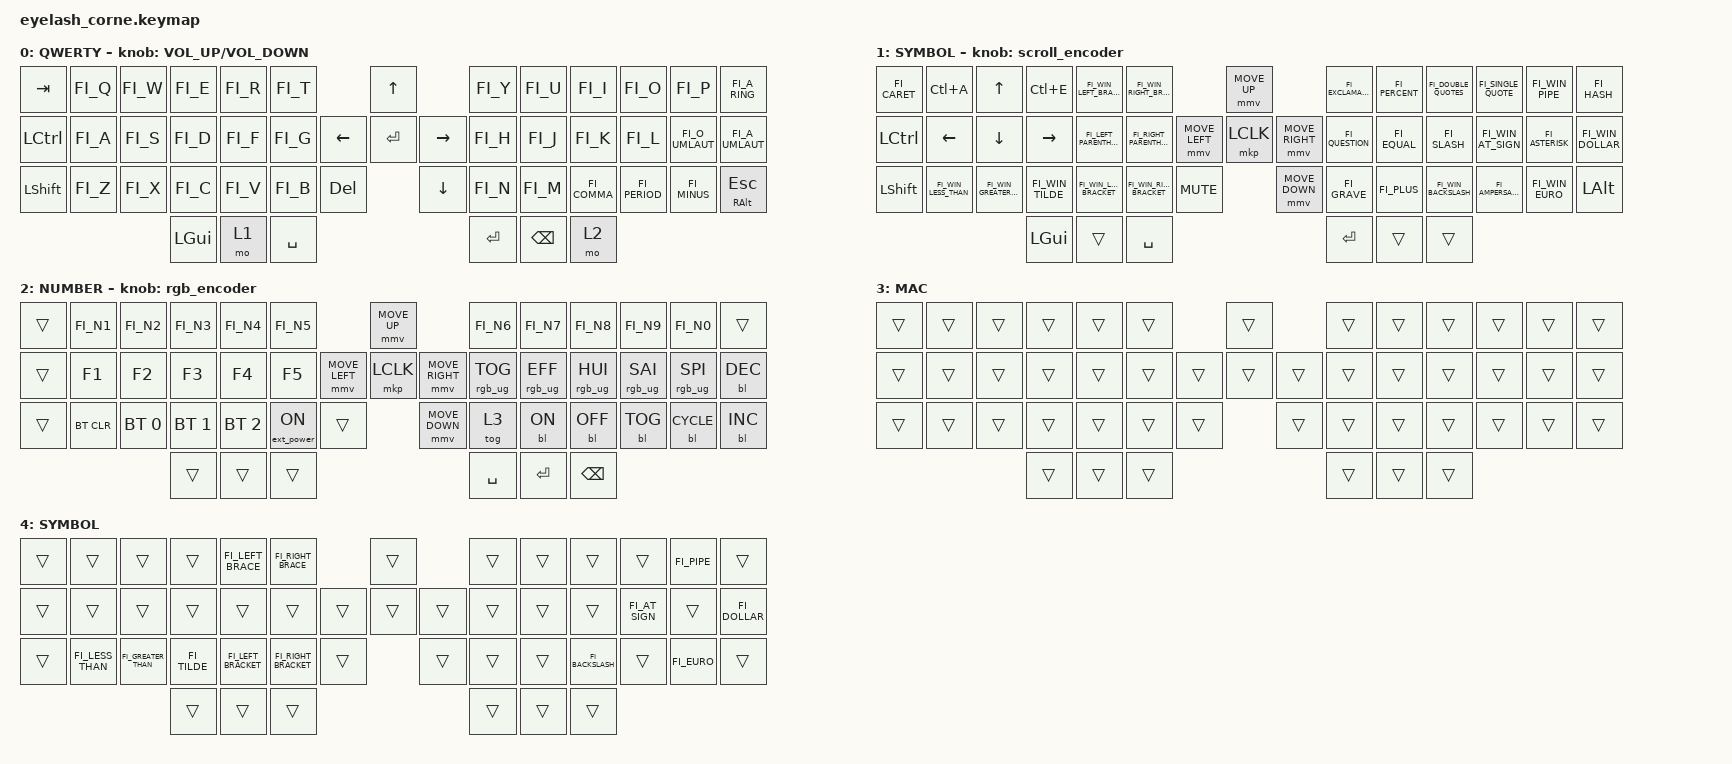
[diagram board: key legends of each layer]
#include <dt-bindings/zmk/mouse.h>
#include "keys_fi.h"
#include "keys_fi_win.h"
#include <input/processors.dtsi>
#include <behaviors.dtsi>
#include <dt-bindings/zmk/backlight.h>
#include <dt-bindings/zmk/bt.h>
#include <dt-bindings/zmk/ext_power.h>
#include <dt-bindings/zmk/keys.h>
#include <dt-bindings/zmk/pointing.h>
#include <dt-bindings/zmk/rgb.h>

/*

   &mmv_input_listener {
       input-processors = <&zip_xy_scaler 2 1>;
   };

   &msc_input_listener {
       input-processors = <&zip_xy_scaler 2 1>;
   };

 */

#define ZMK_MOUSE_DEFAULT_MOVE_VAL 1200  // 600
#define ZMK_MOUSE_DEFAULT_SCRL_VAL 20    // 10

/ {
    behaviors {
        td0: td0 {
            compatible = "zmk,behavior-tap-dance";
            display-name = "Shift/Caps Lock Tap Dance";
            #binding-cells = <0>;
            bindings = <&kp LEFT_SHIFT>, <&kp CAPS>;
        };
    };

    rgb_encoder: rgb_encoder {
        compatible = "zmk,behavior-sensor-rotate";
        #sensor-binding-cells = <0>;
        bindings = <&rgb_ug RGB_BRI>, <&rgb_ug RGB_BRD>;
    };

    scroll_encoder: scroll_encoder {
        compatible = "zmk,behavior-sensor-rotate";
        #sensor-binding-cells = <0>;
        bindings = <&msc SCRL_DOWN>, <&msc SCRL_UP>;

        tap-ms = <30>;
    };

    conditional_layers {
        compatible = "zmk,conditional-layers";

        // While the MAC flag layer (3) is toggled on, holding SYMBOL (1)
        // also activates the macOS symbol overrides (4)
        mac_symbol {
            if-layers = <3 1>;
            then-layer = <4>;
        };
    };

    keymap {
        compatible = "zmk,keymap";

        default_layer {
            display-name = "QWERTY";

            // -----------------------------------------------------------------------------------------
            // | TAB  |  Q  |  W  |  E  |  R  |  T  |   |  Y  |  U   |  I  |  O  |  P  |  Å   |
            // | CTRL |  A  |  S  |  D  |  F  |  G  |   |  H  |  J   |  K  |  L  |  Ö  |  Ä   |
            // | SHFT |  Z  |  X  |  C  |  V  |  B  |   |  N  |  M   |  ,  |  .  |  -  | ESC  |
            //                    | GUI | LWR | SPC |   | ENT | BSPC | RSE 

            bindings = <
&kp TAB    &kp FI_Q  &kp FI_W  &kp FI_E  &kp FI_R  &kp FI_T                           &kp UP                &kp FI_Y  &kp FI_U  &kp FI_I      &kp FI_O       &kp FI_P         &kp FI_A_RING
&kp LCTRL  &kp FI_A  &kp FI_S  &kp FI_D  &kp FI_F  &kp FI_G                 &kp LEFT  &kp ENTER  &kp RIGHT  &kp FI_H  &kp FI_J  &kp FI_K      &kp FI_L       &kp FI_O_UMLAUT  &kp FI_A_UMLAUT
&kp LSHFT  &kp FI_Z  &kp FI_X  &kp FI_C  &kp FI_V  &kp FI_B   &kp DELETE              &kp DOWN              &kp FI_N  &kp FI_M  &kp FI_COMMA  &kp FI_PERIOD  &kp FI_MINUS     &mt RALT ESC
                               &kp LGUI  &mo 1     &kp SPACE                                                &kp RET   &kp BSPC  &mo 2
            >;

            sensor-bindings = <&inc_dec_kp C_VOLUME_UP C_VOLUME_DOWN>;
        };

        lower_layer {
            display-name = "SYMBOL";

            // -----------------------------------------------------------------------------------------
            // |   ^   | CTRL+A |  UP  | CTRL+E |    {    |    }    |   |  !  |  %  |  "  |  '  |  |  |   #  |
            // | CTRL  |  LEFT  | DOWN |  RIGHT |    (    |    )    |   |  ?  |  =  |  /  |  @  |  *  |   $  |
            // |  SHFT |    <   |  >   |    ~   |    [    |    ]    |   |  `  |  +  |  \  |  &  |  €  |  ALT |
            //                         |   GUI  |         |   SPC   |   | ENT |     | RSE 

            bindings = <
&kp FI_CARET  &kp LC(A)         &kp UP               &kp LC(E)     &kp FI_WIN_LEFT_BRACE        &kp FI_WIN_RIGHT_BRACE                                      &mmv MOVE_UP                     &kp FI_EXCLAMATION  &kp FI_PERCENT  &kp FI_DOUBLE_QUOTES  &kp FI_SINGLE_QUOTE  &kp FI_WIN_PIPE      &kp FI_HASH
&kp LCTRL     &kp LEFT          &kp DOWN             &kp RIGHT     &kp FI_LEFT_PARENTHESIS  &kp FI_RIGHT_PARENTHESIS                &mmv MOVE_LEFT  &mkp LCLK       &mmv MOVE_RIGHT  &kp FI_QUESTION     &kp FI_EQUAL    &kp FI_SLASH          &kp FI_WIN_AT_SIGN       &kp FI_ASTERISK  &kp FI_WIN_DOLLAR
&kp LSHFT     &kp FI_WIN_LESS_THAN  &kp FI_WIN_GREATER_THAN  &kp FI_WIN_TILDE  &kp FI_WIN_LEFT_BRACKET      &kp FI_WIN_RIGHT_BRACKET      &kp C_MUTE                    &mmv MOVE_DOWN                   &kp FI_GRAVE        &kp FI_PLUS     &kp FI_WIN_BACKSLASH      &kp FI_AMPERSAND     &kp FI_WIN_EURO      &kp LALT
                                                     &kp LGUI      &trans                   &kp SPACE                                                                                &kp RET             &trans          &trans
            >;

            sensor-bindings = <&scroll_encoder>;
        };

        raise_layer {
            display-name = "NUMBER";

            // -----------------------------------------------------------------------------------------
            // |     |  1  |  2  |  3  |  4  |  5  |   |  6   |  7   |  8   |  9   |  0   |     |
            // |     | F1  | F2  | F3  | F4  | F5  |   | RGBT | RGBF | HUE+ | SAT+ | SPD+ | BL- |
            // |     | BTC | BT0 | BT1 | BT2 | EP+ |   | MAC  | BLON | BLOF | BLTG | BLCY | BL+ |
            //                   |     |     |     |   | SPC  | ENT  | BSPC |
            // encoder: RGB brightness up/down

            bindings = <
&trans  &kp FI_N1   &kp FI_N2     &kp FI_N3     &kp FI_N4     &kp FI_N5                            &mmv MOVE_UP                     &kp FI_N6        &kp FI_N7        &kp FI_N8        &kp FI_N9        &kp FI_N0        &trans
&trans  &kp F1      &kp F2        &kp F3        &kp F4        &kp F5               &mmv MOVE_LEFT  &mkp LCLK       &mmv MOVE_RIGHT  &rgb_ug RGB_TOG  &rgb_ug RGB_EFF  &rgb_ug RGB_HUI  &rgb_ug RGB_SAI  &rgb_ug RGB_SPI  &bl BL_DEC
&trans  &bt BT_CLR  &bt BT_SEL 0  &bt BT_SEL 1  &bt BT_SEL 2  &ext_power EP_ON     &trans                    &mmv MOVE_DOWN                   &tog 3     &bl BL_ON  &bl BL_OFF  &bl BL_TOG  &bl BL_CYCLE  &bl BL_INC
                                  &trans        &trans        &trans                                                                &kp SPACE  &kp RET    &kp BSPC
            >;

            sensor-bindings = <&rgb_encoder>;
        };

        mac_layer {
            display-name = "MAC";

            // OS mode flag, toggled with the MAC key on the NUMBER layer.
            // Every key passes through; while this is on, the conditional
            // layer above swaps SYMBOL's OS-specific characters to their
            // macOS combos, and the screen shows "MAC" as a reminder.
            // NOTE: mode resets to Windows on reboot and wake from deep sleep.

            bindings = <
&trans  &trans  &trans  &trans  &trans  &trans                  &trans          &trans  &trans  &trans  &trans  &trans  &trans
&trans  &trans  &trans  &trans  &trans  &trans          &trans  &trans  &trans  &trans  &trans  &trans  &trans  &trans  &trans
&trans  &trans  &trans  &trans  &trans  &trans  &trans          &trans          &trans  &trans  &trans  &trans  &trans  &trans
                        &trans  &trans  &trans                                  &trans  &trans  &trans
            >;
        };

        mac_symbol_layer {
            display-name = "SYMBOL";

            // macOS overrides for the SYMBOL layer: only the characters whose
            // key combos differ from Windows; blank cells fall through to SYMBOL
            // -----------------------------------------------------------------------------------------
            // |     |     |     |     |  {  |  }  |   |     |     |     |     |  |  |     |
            // |     |     |     |     |     |     |   |     |     |     |  @  |     |  $  |
            // |     |  <  |  >  |  ~  |  [  |  ]  |   |     |     |  \  |     |  €  |     |
            //                   |     |     |     |   |     |     |     |

            bindings = <
&trans  &trans            &trans               &trans        &kp FI_LEFT_BRACE    &kp FI_RIGHT_BRACE                          &trans          &trans  &trans  &trans            &trans          &kp FI_PIPE  &trans
&trans  &trans            &trans               &trans        &trans               &trans                              &trans  &trans  &trans  &trans  &trans  &trans            &kp FI_AT_SIGN  &trans       &kp FI_DOLLAR
&trans  &kp FI_LESS_THAN  &kp FI_GREATER_THAN  &kp FI_TILDE  &kp FI_LEFT_BRACKET  &kp FI_RIGHT_BRACKET  &trans              &trans          &trans  &trans  &kp FI_BACKSLASH  &trans          &kp FI_EURO  &trans
                                               &trans        &trans               &trans                                                    &trans  &trans  &trans
            >;
        };
    };
};
